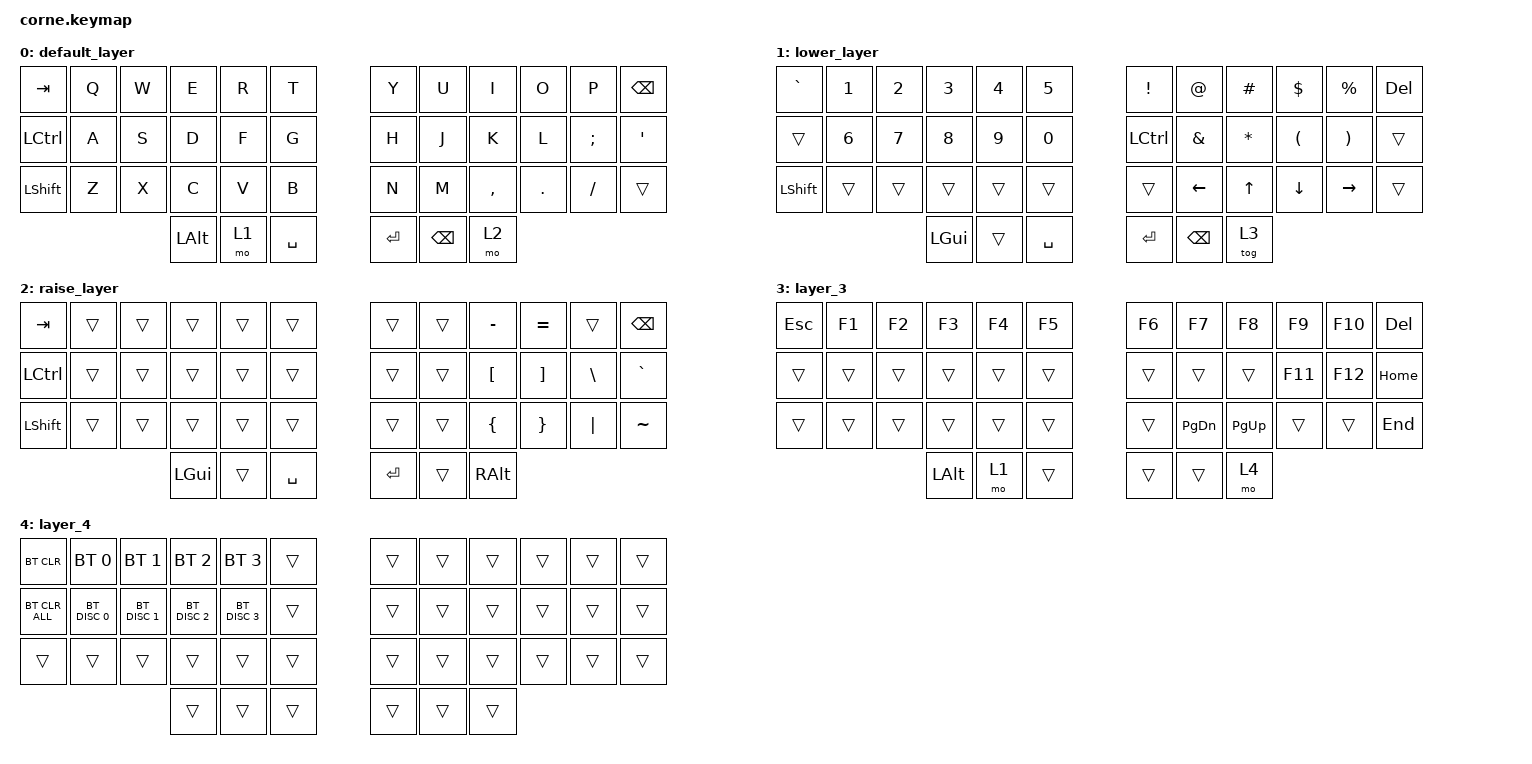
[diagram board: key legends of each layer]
/*
 * Copyright (c) 2020 The ZMK Contributors
 *
 * SPDX-License-Identifier: MIT
 */

#include <behaviors.dtsi>
#include <dt-bindings/zmk/bt.h>
#include <dt-bindings/zmk/keys.h>

/ {
    combos {
        compatible = "zmk,combos";

        ESCa {
            bindings = <&kp ESCAPE>;
            key-positions = <0 12>;
        };
    };

    keymap {
        compatible = "zmk,keymap";

        default_layer {
            // -----------------------------------------------------------------------------------------
            // |  TAB |  Q  |  W  |  E  |  R  |  T  |   |  Y  |  U   |  I  |  O  |  P  | BKSP |
            // | SHFT |  A  |  S  |  D  |  F  |  G  |   |  H  |  J   |  K  |  L  |  ;  |  '   |
            // | CTRL |  Z  |  X  |  C  |  V  |  B  |   |  N  |  M   |  ,  |  .  |  /  | ESC  |
            //                    | GUI | LWR | SPC |   | ENT | RSE  | ALT |

            bindings = <
&kp TAB         &kp Q  &kp W  &kp E     &kp R  &kp T        &kp Y      &kp U          &kp I      &kp O       &kp P      &kp BSPC
&kp LCTRL       &kp A  &kp S  &kp D     &kp F  &kp G        &kp H      &kp J          &kp K      &kp L       &kp SEMI   &kp SINGLE_QUOTE
&kp LEFT_SHIFT  &kp Z  &kp X  &kp C     &kp V  &kp B        &kp N      &kp M          &kp COMMA  &kp PERIOD  &kp SLASH  &trans
                              &kp LALT  &mo 1  &kp SPACE    &kp ENTER  &kp BACKSPACE  &mo 2
            >;
        };

        lower_layer {
            // -----------------------------------------------------------------------------------------
            // |  ` |  1  |  2  |  3  |  4  |  5  |                         |  6  |  7  |  8  |  9  |  0  | BKSP |
            // | BTCLR| BT1 | BT2 | BT3 | BT4 | BT5 |                       | LFT | DWN |  UP | RGT |     |      |
            // | SHFT |     |     |     |     |     |                       |     |     |     |     |     |      |
            //                    | GUI |     | SPC |                       | ENT |     | ALT |

            bindings = <
&kp GRAVE       &kp NUMBER_1  &kp NUMBER_2  &kp NUMBER_3  &kp NUMBER_4  &kp N5          &kp EXCLAMATION  &kp AT_SIGN     &kp POUND     &kp DOLLAR            &kp PERCENT            &kp DELETE
&trans          &kp NUMBER_6  &kp N7        &kp N8        &kp N9        &kp NUMBER_0    &kp LCTRL        &kp AMPERSAND   &kp ASTERISK  &kp LEFT_PARENTHESIS  &kp RIGHT_PARENTHESIS  &trans
&kp LEFT_SHIFT  &trans        &trans        &trans        &trans        &trans          &trans           &kp LEFT_ARROW  &kp UP_ARROW  &kp DOWN_ARROW        &kp RIGHT_ARROW        &trans
                                            &kp LEFT_GUI  &trans        &kp SPACE       &kp ENTER        &kp BACKSPACE   &tog 3
            >;
        };

        raise_layer {
            // -----------------------------------------------------------------------------------------
            // |  ESC |  !  |  @  |  #  |  $  |  %  |   |  ^  |  &  |  *  |  (  |  )  | BKSP |
            // | SHFT |     |     |     |     |     |   |  -  |  =  |  [  |  ]  |  \  |  `   |
            // | CTRL |     |     |     |     |     |   |  _  |  +  |  {  |  }  | "|" |  ~   |
            //                    | GUI |     | SPC |   | ENT |     | ALT |

            bindings = <
&kp TAB    &trans  &trans  &trans        &trans  &trans       &trans   &trans  &kp MINUS         &kp EQUAL          &trans         &kp BSPC
&kp LCTRL  &trans  &trans  &trans        &trans  &trans       &trans   &trans  &kp LEFT_BRACKET  &kp RIGHT_BRACKET  &kp BACKSLASH  &kp GRAVE
&kp LSHFT  &trans  &trans  &trans        &trans  &trans       &trans   &trans  &kp LBRC          &kp RBRC           &kp PIPE       &kp TILDE
                           &kp LEFT_GUI  &trans  &kp SPACE    &kp RET  &trans  &kp RALT
            >;
        };

        layer_3 {
            bindings = <
&kp ESCAPE  &kp F1  &kp F2  &kp F3        &kp F4  &kp F5    &kp F6  &kp F7         &kp F8     &kp F9   &kp F10  &kp DELETE
&trans      &trans  &trans  &trans        &trans  &trans    &trans  &trans         &trans     &kp F11  &kp F12  &kp HOME
&trans      &trans  &trans  &trans        &trans  &trans    &trans  &kp PAGE_DOWN  &kp PG_UP  &trans   &trans   &kp END
                            &kp LEFT_ALT  &mo 1   &trans    &trans  &trans         &mo 4
            >;
        };

        layer_4 {
            bindings = <
&bt BT_CLR      &bt BT_SEL 0   &bt BT_SEL 1   &bt BT_SEL 2   &bt BT_SEL 3   &trans    &trans  &trans  &trans  &trans  &trans  &trans
&bt BT_CLR_ALL  &bt BT_DISC 0  &bt BT_DISC 1  &bt BT_DISC 2  &bt BT_DISC 3  &trans    &trans  &trans  &trans  &trans  &trans  &trans
&trans          &trans         &trans         &trans         &trans         &trans    &trans  &trans  &trans  &trans  &trans  &trans
                                              &trans         &trans         &trans    &trans  &trans  &trans
            >;
        };
    };
};
